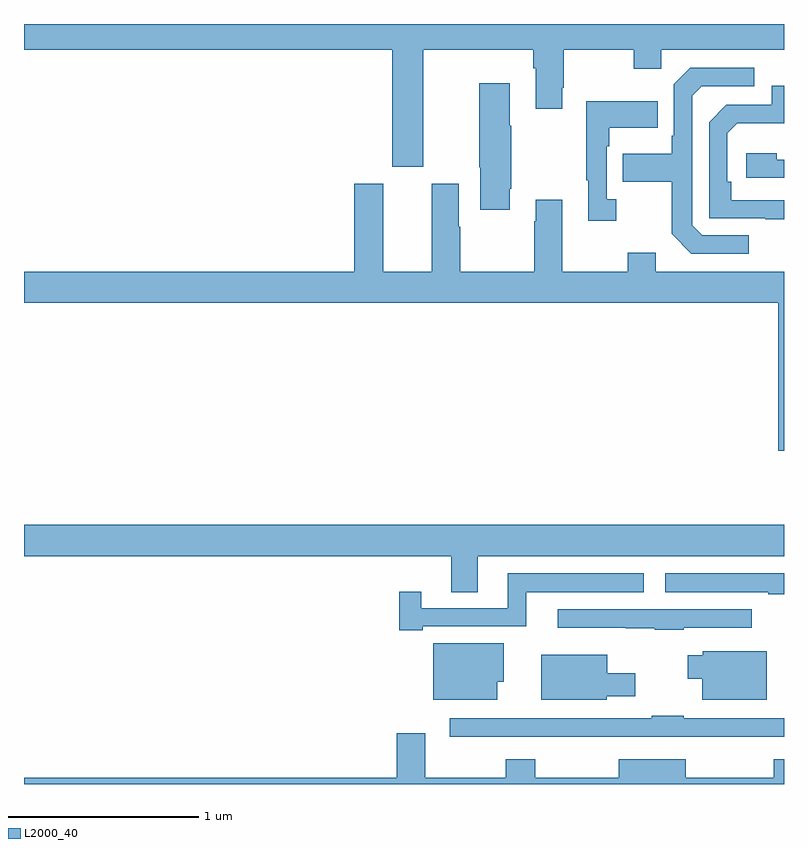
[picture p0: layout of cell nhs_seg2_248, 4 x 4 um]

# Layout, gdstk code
import gdstk
lib = gdstk.Library(unit=1e-6, precision=1e-09)
def P(c, l, *ps):  # polygons
    for p in ps: c.add(gdstk.Polygon(p, *l))
L2000_40 = (2000, 40)

nhs_seg2_248 = lib.new_cell('nhs_seg2_248')
P(nhs_seg2_248, L2000_40, [(125.101,619.664),(125.681,619.664),(125.681,619.568),(125.693,619.568),(125.693,619.353),(125.833,619.353),(125.833,619.465),(125.841,619.465),(125.841,619.664),(126.208,619.664),(126.208,619.565),(126.354,619.565),(126.354,619.664),(127,619.664),(127,619.8),(123,619.8),(123,619.664),(124.937,619.664),(124.937,619.05),(125.101,619.05)],
  [(126.814,618.687),(126.57,618.687),(126.516,618.741),(126.516,619.422),(126.567,619.473),(126.844,619.473),(126.844,619.569),(126.507,619.569),(126.42,619.482),(126.42,619.213),(126.408,619.213),(126.408,619.117),(126.151,619.117),(126.151,618.97),(126.408,618.97),(126.408,618.697),(126.513,618.591),(126.814,618.591)],
  [(125.557,618.934),(125.565,618.934),(125.565,619.265),(125.557,619.265),(125.557,619.489),(125.395,619.489),(125.395,619.045),(125.402,619.045),(125.402,618.822),(125.557,618.822)],
  [(127,618.873),(126.722,618.873),(126.722,618.97),(126.702,618.97),(126.702,619.224),(126.755,619.277),(127,619.277),(127,619.476),(126.936,619.476),(126.936,619.374),(126.696,619.374),(126.606,619.284),(126.606,618.777),(126.901,618.777),(126.901,618.772),(127,618.772)],
  [(126.118,618.878),(126.066,618.878),(126.066,619.157),(126.079,619.157),(126.079,619.253),(126.335,619.253),(126.335,619.393),(125.958,619.393),(125.958,618.977),(125.969,618.977),(125.969,618.765),(126.118,618.765)],
  [(127,619.086),(126.962,619.086),(126.962,619.12),(126.801,619.12),(126.801,618.99),(127,618.99)],
  [(127,618.496),(126.325,618.496),(126.325,618.595),(126.178,618.595),(126.178,618.496),(125.833,618.496),(125.833,618.874),(125.693,618.874),(125.693,618.761),(125.686,618.761),(125.686,618.496),(125.295,618.496),(125.295,618.734),(125.287,618.734),(125.287,618.958),(125.147,618.958),(125.147,618.496),(124.891,618.496),(124.891,618.958),(124.739,618.958),(124.739,618.496),(123,618.496),(123,618.332),(126.971,618.332),(126.971,617.553),(127,617.553)],
  [(125.389,617),(127,617),(127,617.164),(123,617.164),(123,617),(125.249,617),(125.249,616.81),(125.389,616.81)],
  [(127,616.909),(126.375,616.909),(126.375,616.808),(126.916,616.808),(126.916,616.798),(127,616.798)],
  [(125.098,616.629),(125.644,616.629),(125.644,616.808),(126.262,616.808),(126.262,616.909),(125.546,616.909),(125.546,616.725),(125.092,616.725),(125.092,616.813),(124.975,616.813),(124.975,616.609),(125.098,616.609)],
  [(126.473,616.623),(126.829,616.623),(126.829,616.719),(125.808,616.719),(125.808,616.622),(126.166,616.622),(126.166,616.621),(126.32,616.621),(126.32,616.611),(126.473,616.611)],
  [(125.491,616.337),(125.524,616.337),(125.524,616.54),(125.153,616.54),(125.153,616.244),(125.491,616.244)],
  [(126.91,616.498),(126.573,616.498),(126.573,616.477),(126.494,616.477),(126.494,616.355),(126.569,616.355),(126.569,616.244),(126.91,616.244)],
  [(126.066,616.262),(126.217,616.262),(126.217,616.384),(126.07,616.384),(126.07,616.48),(125.723,616.48),(125.723,616.244),(126.066,616.244)],
  [(126.035,616.05),(126.58,616.05),(126.58,616.049),(126.857,616.049),(126.857,616.05),(127,616.05),(127,616.146),(126.473,616.146),(126.473,616.159),(126.304,616.159),(126.304,616.146),(125.241,616.146),(125.241,616.05),(125.779,616.05),(125.779,616.049),(126.035,616.049)],
  [(127,615.931),(126.946,615.931),(126.946,615.832),(126.484,615.832),(126.484,615.931),(126.131,615.931),(126.131,615.832),(125.691,615.832),(125.691,615.931),(125.536,615.931),(125.536,615.832),(125.113,615.832),(125.113,616.066),(124.961,616.066),(124.961,615.832),(123,615.832),(123,615.8),(127,615.8)])

lib.write_gds('nhs_seg2_248.gds')
